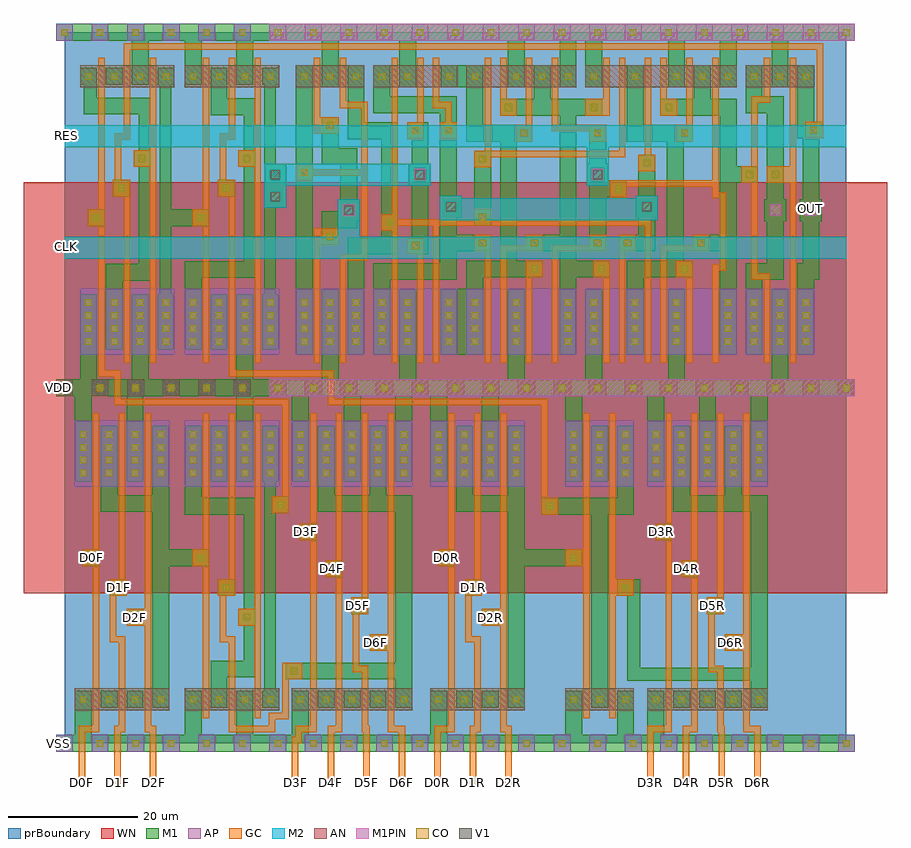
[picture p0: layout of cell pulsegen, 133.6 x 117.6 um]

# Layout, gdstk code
import gdstk
lib = gdstk.Library(unit=1e-6, precision=1e-07)
def R(c, l, rs):  # rectangles x0, y0, x1, y1
    for r in rs: c.add(gdstk.rectangle(r[:2], r[2:], *l))
def A(c, l, x, y, w, h, nx, ny, dx, dy):  # array of equal rectangles
    R(c, l, [(x+i*dx, y+j*dy, x+i*dx+w, y+j*dy+h) for i in range(nx) for j in range(ny)])
def P(c, l, *ps):  # polygons
    for p in ps: c.add(gdstk.Polygon(p, *l))
AP = (3, 1)
AN = (3, 2)
GC = (8, 1)
CO = (11, 0)
M1 = (13, 0)
V1 = (19, 0)
M2 = (20, 0)
M1PIN = (48, 1)
WN = (140, 0)
prBoundary = (235, 0)

fet_p = lib.new_cell('fet_p')
R(fet_p, AP, [(-7.3,-5.1,7.3,5.1)])
A(fet_p, CO, -6.5, -3.5, 1, 1, 4, 4, 4, 2)
A(fet_p, M1, -7.3, -4.3, 2.6, 8.6, 4, 1, 4, 0)
fet_p.add(gdstk.FlexPath([(0,-6.3),(0,6.3)], 1, ends="flush", simple_path=True, layer=8, datatype=1))  # GC
fet_p.add(gdstk.FlexPath([(-4,-6.3),(-4,6.3)], 1, ends="flush", simple_path=True, layer=8, datatype=1))  # GC
fet_p.add(gdstk.FlexPath([(4,-6.3),(4,6.3)], 1, ends="flush", simple_path=True, layer=8, datatype=1))  # GC

fet_n = lib.new_cell('fet_n')
R(fet_n, AN, [(-7.3,-1.7,7.3,1.7)])
A(fet_n, CO, -6.5, -0.5, 1, 1, 4, 1, 4, 0)
A(fet_n, M1, -7.3, -1.3, 2.6, 2.6, 4, 1, 4, 0)
fet_n.add(gdstk.FlexPath([(0,-2.9),(0,2.9)], 1, ends="flush", simple_path=True, layer=8, datatype=1))  # GC
fet_n.add(gdstk.FlexPath([(-4,-2.9),(-4,2.9)], 1, ends="flush", simple_path=True, layer=8, datatype=1))  # GC
fet_n.add(gdstk.FlexPath([(4,-2.9),(4,2.9)], 1, ends="flush", simple_path=True, layer=8, datatype=1))  # GC

cont_g_4 = lib.new_cell('cont_g$4')
R(cont_g_4, GC, [(-1.3,-1.3,1.3,1.3)])
R(cont_g_4, CO, [(-0.5,-0.5,0.5,0.5)])
R(cont_g_4, M1, [(-1.3,-1.3,1.3,1.3)])

cont_p_4 = lib.new_cell('cont_p$4')
R(cont_p_4, AP, [(-1.3,-1.3,1.3,1.3)])
R(cont_p_4, CO, [(-0.5,-0.5,0.5,0.5)])
R(cont_p_4, M1, [(-1.3,-1.3,1.3,1.3)])

cont_n = lib.new_cell('cont_n')
R(cont_n, AN, [(-1.3,-1.3,1.3,1.3)])
R(cont_n, CO, [(-0.5,-0.5,0.5,0.5)])
R(cont_n, M1, [(-1.3,-1.3,1.3,1.3)])

pulsegen_and2 = lib.new_cell('pulsegen_and2')
R(pulsegen_and2, GC, [(5.2,9.7,6.2,38.5), (13.2,9.7,14.2,38.5)])
P(pulsegen_and2, GC, [(9.2,9.7),(9.2,15.6),(7.8,15.6),(7.8,23.8),(9.2,23.8),(9.2,38.5),(10.2,38.5),(10.2,22.8),(8.8,22.8),(8.8,16.6),(10.2,16.6),(10.2,9.7)])
R(pulsegen_and2, M1, [(-1.3,-1.3,17.8,1.3), (10.4,1.3,13,5.5), (14.7,8.1,16.5,40.5), (2.4,49.1,5,53.7), (10.4,49.1,13,53.7), (-1.3,53.7,17.8,56.3)])
P(pulsegen_and2, M1, [(3,8.1),(3,12.7),(11.5,12.7),(11.5,35.8),(6.4,35.8),(6.4,40.5),(9,40.5),(9,38.4),(13.3,38.4),(13.3,10.1),(5,10.1),(5,8.1)])
R(pulsegen_and2, WN, [(-6.3,23.2,24,61.3)])
R(pulsegen_and2, prBoundary, [(0,0,16.5,55)])
pulsegen_and2.add(gdstk.Reference(fet_p, (9.7,44.8), x_reflection=True))
pulsegen_and2.add(gdstk.Reference(fet_n, (9.7,6.8), x_reflection=True))
pulsegen_and2.add(gdstk.Reference(cont_g_4, (4.9,28.7)))
pulsegen_and2.add(gdstk.Reference(cont_g_4, (12,19.5)))
r = gdstk.Reference(cont_p_4, (0,0), x_reflection=True); r.repetition = gdstk.Repetition(4, 1, v1=(5.5,0), v2=(0,0)); pulsegen_and2.add(r)
r = gdstk.Reference(cont_n, (0,55), x_reflection=True); r.repetition = gdstk.Repetition(4, 1, v1=(5.5,0), v2=(0,0)); pulsegen_and2.add(r)
pulsegen_and2.add(gdstk.Reference(cont_g_4, (8.8,24.1)))
pulsegen_and2.add(gdstk.Label('B', (8.8,24.1), layer=48, texttype=0))
pulsegen_and2.add(gdstk.Label('A', (4.9,28.7), layer=48, texttype=0))
pulsegen_and2.add(gdstk.Label('Y', (15.6,24.1), layer=48, texttype=0))
pulsegen_and2.add(gdstk.Label('VSS', (-1,0), layer=48, texttype=0))
pulsegen_and2.add(gdstk.Label('VDD', (-0.9,55), layer=48, texttype=0))

fet_p_1 = lib.new_cell('fet_p$1')
R(fet_p_1, AP, [(-7.3,-5.1,7.3,5.1)])
A(fet_p_1, CO, -6.5, -3.5, 1, 1, 4, 4, 4, 2)
A(fet_p_1, M1, -7.3, -4.3, 2.6, 8.6, 4, 1, 4, 0)
fet_p_1.add(gdstk.FlexPath([(0,-6.3),(0,6.3)], 1, ends="flush", simple_path=True, layer=8, datatype=1))  # GC
fet_p_1.add(gdstk.FlexPath([(-4,-6.3),(-4,6.3)], 1, ends="flush", simple_path=True, layer=8, datatype=1))  # GC
fet_p_1.add(gdstk.FlexPath([(4,-6.3),(4,6.3)], 1, ends="flush", simple_path=True, layer=8, datatype=1))  # GC

fet_n_1 = lib.new_cell('fet_n$1')
R(fet_n_1, AN, [(-7.3,-1.7,7.3,1.7)])
A(fet_n_1, CO, -6.5, -0.5, 1, 1, 4, 1, 4, 0)
A(fet_n_1, M1, -7.3, -1.3, 2.6, 2.6, 4, 1, 4, 0)
fet_n_1.add(gdstk.FlexPath([(0,-2.9),(0,2.9)], 1, ends="flush", simple_path=True, layer=8, datatype=1))  # GC
fet_n_1.add(gdstk.FlexPath([(-4,-2.9),(-4,2.9)], 1, ends="flush", simple_path=True, layer=8, datatype=1))  # GC
fet_n_1.add(gdstk.FlexPath([(4,-2.9),(4,2.9)], 1, ends="flush", simple_path=True, layer=8, datatype=1))  # GC

cont_g_6 = lib.new_cell('cont_g$6')
R(cont_g_6, GC, [(-1.3,-1.3,1.3,1.3)])
R(cont_g_6, CO, [(-0.5,-0.5,0.5,0.5)])
R(cont_g_6, M1, [(-1.3,-1.3,1.3,1.3)])

cont_p_6 = lib.new_cell('cont_p$6')
R(cont_p_6, AP, [(-1.3,-1.3,1.3,1.3)])
R(cont_p_6, CO, [(-0.5,-0.5,0.5,0.5)])
R(cont_p_6, M1, [(-1.3,-1.3,1.3,1.3)])

cont_n_2 = lib.new_cell('cont_n$2')
R(cont_n_2, AN, [(-1.3,-1.3,1.3,1.3)])
R(cont_n_2, CO, [(-0.5,-0.5,0.5,0.5)])
R(cont_n_2, M1, [(-1.3,-1.3,1.3,1.3)])

pulsegen_or2 = lib.new_cell('pulsegen_or2')
R(pulsegen_or2, GC, [(4.9,9.7,5.9,38.5), (12.9,9.7,13.9,38.5)])
P(pulsegen_or2, GC, [(8.9,9.7),(8.9,15.6),(7.5,15.6),(7.5,23.8),(8.9,23.8),(8.9,38.5),(9.9,38.5),(9.9,22.8),(8.5,22.8),(8.5,16.6),(9.9,16.6),(9.9,9.7)])
R(pulsegen_or2, M1, [(-1.3,-1.3,17.8,1.3), (2.1,1.3,4.7,5.5), (10.1,1.3,12.7,5.5), (14.4,8.1,16.2,40.5), (10.1,49.1,12.7,53.7), (-1.3,53.7,17.8,56.3)])
P(pulsegen_or2, M1, [(6.1,8.1),(6.1,12.8),(11.2,12.8),(11.2,35.4),(2.1,35.4),(2.1,40.5),(4.7,40.5),(4.7,38),(13,38),(13,10.2),(8.7,10.2),(8.7,8.1)])
R(pulsegen_or2, WN, [(-6.3,23.2,23.7,61.3)])
R(pulsegen_or2, prBoundary, [(0,0,16.5,55)])
pulsegen_or2.add(gdstk.Reference(fet_p_1, (9.4,44.8), x_reflection=True))
pulsegen_or2.add(gdstk.Reference(fet_n_1, (9.4,6.8), x_reflection=True))
pulsegen_or2.add(gdstk.Reference(cont_g_6, (4.6,28.7)))
pulsegen_or2.add(gdstk.Reference(cont_g_6, (11.7,19.5)))
r = gdstk.Reference(cont_p_6, (0,0), x_reflection=True); r.repetition = gdstk.Repetition(4, 1, v1=(5.5,0), v2=(0,0)); pulsegen_or2.add(r)
r = gdstk.Reference(cont_n_2, (0,55), x_reflection=True); r.repetition = gdstk.Repetition(4, 1, v1=(5.5,0), v2=(0,0)); pulsegen_or2.add(r)
pulsegen_or2.add(gdstk.Reference(cont_g_6, (8.5,24.1)))
pulsegen_or2.add(gdstk.Label('B', (8.5,24.1), layer=48, texttype=0))
pulsegen_or2.add(gdstk.Label('A', (4.6,28.7), layer=48, texttype=0))
pulsegen_or2.add(gdstk.Label('Y', (15.3,24.1), layer=48, texttype=0))
pulsegen_or2.add(gdstk.Label('VSS', (-1,0), layer=48, texttype=0))
pulsegen_or2.add(gdstk.Label('VDD', (-0.9,55), layer=48, texttype=0))

cont_p = lib.new_cell('cont_p')
R(cont_p, AP, [(-1.3,-1.3,1.3,1.3)])
R(cont_p, CO, [(-0.5,-0.5,0.5,0.5)])
R(cont_p, M1, [(-1.3,-1.3,1.3,1.3)])

cont_g = lib.new_cell('cont_g')
R(cont_g, GC, [(-1.3,-1.3,1.3,1.3)])
R(cont_g, CO, [(-0.5,-0.5,0.5,0.5)])
R(cont_g, M1, [(-1.3,-1.3,1.3,1.3)])

via_1 = lib.new_cell('via_1')
R(via_1, M1, [(-1.7,-1.7,1.7,1.7)])
R(via_1, V1, [(-0.7,-0.7,0.7,0.7)])
R(via_1, M2, [(-1.7,-1.7,1.7,1.7)])

fet_p_3 = lib.new_cell('fet_p$3')
R(fet_p_3, AP, [(-7.3,-5.1,7.3,5.1)])
A(fet_p_3, CO, -6.5, -3.5, 1, 1, 4, 4, 4, 2)
A(fet_p_3, M1, -7.3, -4.3, 2.6, 8.6, 4, 1, 4, 0)
fet_p_3.add(gdstk.FlexPath([(0,-6.3),(0,6.3)], 1, ends="flush", simple_path=True, layer=8, datatype=1))  # GC
fet_p_3.add(gdstk.FlexPath([(-4,-6.3),(-4,6.3)], 1, ends="flush", simple_path=True, layer=8, datatype=1))  # GC
fet_p_3.add(gdstk.FlexPath([(4,-6.3),(4,6.3)], 1, ends="flush", simple_path=True, layer=8, datatype=1))  # GC

fet_n_3 = lib.new_cell('fet_n$3')
R(fet_n_3, AN, [(-7.3,-1.7,7.3,1.7)])
A(fet_n_3, CO, -6.5, -0.5, 1, 1, 4, 1, 4, 0)
A(fet_n_3, M1, -7.3, -1.3, 2.6, 2.6, 4, 1, 4, 0)
fet_n_3.add(gdstk.FlexPath([(0,-2.9),(0,2.9)], 1, ends="flush", simple_path=True, layer=8, datatype=1))  # GC
fet_n_3.add(gdstk.FlexPath([(-4,-2.9),(-4,2.9)], 1, ends="flush", simple_path=True, layer=8, datatype=1))  # GC
fet_n_3.add(gdstk.FlexPath([(4,-2.9),(4,2.9)], 1, ends="flush", simple_path=True, layer=8, datatype=1))  # GC

cont_g_1 = lib.new_cell('cont_g$1')
R(cont_g_1, GC, [(-1.3,-1.3,1.3,1.3)])
R(cont_g_1, CO, [(-0.5,-0.5,0.5,0.5)])
R(cont_g_1, M1, [(-1.3,-1.3,1.3,1.3)])

cont_p_1 = lib.new_cell('cont_p$1')
R(cont_p_1, AP, [(-1.3,-1.3,1.3,1.3)])
R(cont_p_1, CO, [(-0.5,-0.5,0.5,0.5)])
R(cont_p_1, M1, [(-1.3,-1.3,1.3,1.3)])

cont_n_1 = lib.new_cell('cont_n$1')
R(cont_n_1, AN, [(-1.3,-1.3,1.3,1.3)])
R(cont_n_1, CO, [(-0.5,-0.5,0.5,0.5)])
R(cont_n_1, M1, [(-1.3,-1.3,1.3,1.3)])

pulsegen_nand3 = lib.new_cell('pulsegen_nand3')
R(pulsegen_nand3, GC, [(4.4,9.7,5.4,38.5)])
P(pulsegen_nand3, GC, [(12.4,9.7),(12.4,18.2),(12.2,18.2),(12.2,20.8),(12.4,20.8),(12.4,38.5),(13.4,38.5),(13.4,9.7)],
  [(8.4,9.7),(8.4,15.6),(7,15.6),(7,23.8),(8.4,23.8),(8.4,38.5),(9.4,38.5),(9.4,22.8),(8,22.8),(8,16.6),(9.4,16.6),(9.4,9.7)])
R(pulsegen_nand3, M1, [(-1.3,-1.3,17.8,1.3), (1.6,1.3,4.2,5.5), (1.6,49.1,4.2,53.7), (9.6,49.1,12.2,53.7), (-1.3,53.7,17.8,56.3)])
P(pulsegen_nand3, M1, [(13.6,8.1),(13.6,35.8),(5.6,35.8),(5.6,40.5),(8.2,40.5),(8.2,38.4),(13.6,38.4),(13.6,40.5),(16.2,40.5),(16.2,8.1)])
R(pulsegen_nand3, WN, [(-6.3,23.2,23.2,61.3)])
R(pulsegen_nand3, prBoundary, [(0,0,16.5,55)])
pulsegen_nand3.add(gdstk.Reference(fet_p_3, (8.9,44.8), x_reflection=True))
pulsegen_nand3.add(gdstk.Reference(fet_n_3, (8.9,6.8), x_reflection=True))
pulsegen_nand3.add(gdstk.Reference(cont_g_1, (4.1,28.7)))
pulsegen_nand3.add(gdstk.Reference(cont_g_1, (10.9,19.5)))
r = gdstk.Reference(cont_p_1, (0,0), x_reflection=True); r.repetition = gdstk.Repetition(4, 1, v1=(5.5,0), v2=(0,0)); pulsegen_nand3.add(r)
r = gdstk.Reference(cont_n_1, (0,55), x_reflection=True); r.repetition = gdstk.Repetition(4, 1, v1=(5.5,0), v2=(0,0)); pulsegen_nand3.add(r)
pulsegen_nand3.add(gdstk.Reference(cont_g_1, (8.3,24.1)))
pulsegen_nand3.add(gdstk.Label('VSS', (-1,0), layer=48, texttype=0))
pulsegen_nand3.add(gdstk.Label('VDD', (-0.9,55), layer=48, texttype=0))
pulsegen_nand3.add(gdstk.Label('C', (10.9,19.5), layer=48, texttype=0))
pulsegen_nand3.add(gdstk.Label('B', (8.3,24.1), layer=48, texttype=0))
pulsegen_nand3.add(gdstk.Label('A', (4.1,28.7), layer=48, texttype=0))
pulsegen_nand3.add(gdstk.Label('Y', (14.9,24.1), layer=48, texttype=0))

fet_n_7 = lib.new_cell('fet_n$7')
R(fet_n_7, AN, [(-9.3,-1.7,9.3,1.7)])
A(fet_n_7, CO, -8.5, -0.5, 1, 1, 5, 1, 4, 0)
A(fet_n_7, M1, -9.3, -1.3, 2.6, 2.6, 5, 1, 4, 0)
fet_n_7.add(gdstk.FlexPath([(2,-2.9),(2,2.9)], 1, ends="flush", simple_path=True, layer=8, datatype=1))  # GC
fet_n_7.add(gdstk.FlexPath([(-2,-2.9),(-2,2.9)], 1, ends="flush", simple_path=True, layer=8, datatype=1))  # GC
fet_n_7.add(gdstk.FlexPath([(6,-2.9),(6,2.9)], 1, ends="flush", simple_path=True, layer=8, datatype=1))  # GC
fet_n_7.add(gdstk.FlexPath([(-6,-2.9),(-6,2.9)], 1, ends="flush", simple_path=True, layer=8, datatype=1))  # GC

fet_p_7 = lib.new_cell('fet_p$7')
R(fet_p_7, AP, [(-9.3,-5.1,9.3,5.1)])
A(fet_p_7, CO, -8.5, -3.5, 1, 1, 5, 4, 4, 2)
A(fet_p_7, M1, -9.3, -4.3, 2.6, 8.6, 5, 1, 4, 0)
fet_p_7.add(gdstk.FlexPath([(2,-6.3),(2,6.3)], 1, ends="flush", simple_path=True, layer=8, datatype=1))  # GC
fet_p_7.add(gdstk.FlexPath([(-2,-6.3),(-2,6.3)], 1, ends="flush", simple_path=True, layer=8, datatype=1))  # GC
fet_p_7.add(gdstk.FlexPath([(6,-6.3),(6,6.3)], 1, ends="flush", simple_path=True, layer=8, datatype=1))  # GC
fet_p_7.add(gdstk.FlexPath([(-6,-6.3),(-6,6.3)], 1, ends="flush", simple_path=True, layer=8, datatype=1))  # GC

cont_p_7 = lib.new_cell('cont_p$7')
R(cont_p_7, AP, [(-1.3,-1.3,1.3,1.3)])
R(cont_p_7, CO, [(-0.5,-0.5,0.5,0.5)])
R(cont_p_7, M1, [(-1.3,-1.3,1.3,1.3)])

cont_n_6 = lib.new_cell('cont_n$6')
R(cont_n_6, AN, [(-1.3,-1.3,1.3,1.3)])
R(cont_n_6, CO, [(-0.5,-0.5,0.5,0.5)])
R(cont_n_6, M1, [(-1.3,-1.3,1.3,1.3)])

cont_g_7 = lib.new_cell('cont_g$7')
R(cont_g_7, GC, [(-1.3,-1.3,1.3,1.3)])
R(cont_g_7, CO, [(-0.5,-0.5,0.5,0.5)])
R(cont_g_7, M1, [(-1.3,-1.3,1.3,1.3)])

pulsegen_nand4 = lib.new_cell('pulsegen_nand4')
R(pulsegen_nand4, GC, [(5,9.7,6,38.5), (9,9.7,10,38.5)])
P(pulsegen_nand4, GC, [(13,9.7),(13,11),(11.6,11),(11.6,21),(13,21),(13,38.5),(14,38.5),(14,20),(12.6,20),(12.6,12),(14,12),(14,9.7)],
  [(17,9.7),(17,14.3),(16.8,14.3),(16.8,16.9),(17,16.9),(17,38.5),(18,38.5),(18,9.7)])
A(pulsegen_nand4, M1, 2.2, 49.1, 2.6, 4.6, 3, 1, 8, 0)
R(pulsegen_nand4, M1, [(-1.3,-1.3,23.3,1.3), (2.2,1.3,4.8,5.5), (-1.3,53.7,23.3,56.3)])
P(pulsegen_nand4, M1, [(18.2,8.1),(18.2,35.8),(6.2,35.8),(6.2,40.5),(8.8,40.5),(8.8,38.4),(14.2,38.4),(14.2,40.5),(16.8,40.5),(16.8,38.4),(20.8,38.4),(20.8,8.1)])
R(pulsegen_nand4, WN, [(-6.3,23.2,28.3,61.3)])
R(pulsegen_nand4, prBoundary, [(0,0,22,55)])
pulsegen_nand4.add(gdstk.Reference(fet_n_7, (11.5,6.8), x_reflection=True))
pulsegen_nand4.add(gdstk.Reference(fet_p_7, (11.5,44.8), x_reflection=True))
r = gdstk.Reference(cont_p_7, (0,0), x_reflection=True); r.repetition = gdstk.Repetition(5, 1, v1=(5.5,0), v2=(0,0)); pulsegen_nand4.add(r)
r = gdstk.Reference(cont_n_6, (0,55), x_reflection=True); r.repetition = gdstk.Repetition(5, 1, v1=(5.5,0), v2=(0,0)); pulsegen_nand4.add(r)
pulsegen_nand4.add(gdstk.Reference(cont_g_7, (15.5,15.6)))
pulsegen_nand4.add(gdstk.Reference(cont_g_7, (8.7,27)))
pulsegen_nand4.add(gdstk.Reference(cont_g_7, (4.7,32.7)))
pulsegen_nand4.add(gdstk.Reference(cont_g_7, (12.7,21.3)))
pulsegen_nand4.add(gdstk.Label('A', (4.7,32.7), layer=48, texttype=0))
pulsegen_nand4.add(gdstk.Label('B', (8.7,27), layer=48, texttype=0))
pulsegen_nand4.add(gdstk.Label('C', (12.7,21.3), layer=48, texttype=0))
pulsegen_nand4.add(gdstk.Label('D', (15.5,15.6), layer=48, texttype=0))
pulsegen_nand4.add(gdstk.Label('VSS', (-1,0), layer=48, texttype=0))
pulsegen_nand4.add(gdstk.Label('VDD', (-0.9,55), layer=48, texttype=0))

fet_p_1_2 = lib.new_cell('fet_p$1$2')
R(fet_p_1_2, AP, [(-5.3,-5.1,5.3,5.1)])
A(fet_p_1_2, CO, -4.5, -3.5, 1, 1, 3, 4, 4, 2)
A(fet_p_1_2, M1, -5.3, -4.3, 2.6, 8.6, 3, 1, 4, 0)
fet_p_1_2.add(gdstk.FlexPath([(2,-6.3),(2,6.3)], 1, ends="flush", simple_path=True, layer=8, datatype=1))  # GC
fet_p_1_2.add(gdstk.FlexPath([(-2,-6.3),(-2,6.3)], 1, ends="flush", simple_path=True, layer=8, datatype=1))  # GC

fet_n_1_2 = lib.new_cell('fet_n$1$2')
R(fet_n_1_2, AN, [(-5.3,-1.7,5.3,1.7)])
A(fet_n_1_2, CO, -4.5, -0.5, 1, 1, 3, 1, 4, 0)
A(fet_n_1_2, M1, -5.3, -1.3, 2.6, 2.6, 3, 1, 4, 0)
fet_n_1_2.add(gdstk.FlexPath([(2,-2.9),(2,2.9)], 1, ends="flush", simple_path=True, layer=8, datatype=1))  # GC
fet_n_1_2.add(gdstk.FlexPath([(-2,-2.9),(-2,2.9)], 1, ends="flush", simple_path=True, layer=8, datatype=1))  # GC

cont_g_5 = lib.new_cell('cont_g$5')
R(cont_g_5, GC, [(-1.3,-1.3,1.3,1.3)])
R(cont_g_5, CO, [(-0.5,-0.5,0.5,0.5)])
R(cont_g_5, M1, [(-1.3,-1.3,1.3,1.3)])

cont_n_5 = lib.new_cell('cont_n$5')
R(cont_n_5, AN, [(-1.3,-1.3,1.3,1.3)])
R(cont_n_5, CO, [(-0.5,-0.5,0.5,0.5)])
R(cont_n_5, M1, [(-1.3,-1.3,1.3,1.3)])

cont_p_5 = lib.new_cell('cont_p$5')
R(cont_p_5, AP, [(-1.3,-1.3,1.3,1.3)])
R(cont_p_5, CO, [(-0.5,-0.5,0.5,0.5)])
R(cont_p_5, M1, [(-1.3,-1.3,1.3,1.3)])

pulsegen_nor2_1 = lib.new_cell('pulsegen_nor2$1')
P(pulsegen_nor2_1, GC, [(3.3,9.7),(3.3,27.4),(3.1,27.4),(3.1,30),(3.3,30),(3.3,38.5),(4.3,38.5),(4.3,9.7)],
  [(7.3,9.7),(7.3,38.5),(8.3,38.5),(8.3,25.4),(8.5,25.4),(8.5,22.8),(8.3,22.8),(8.3,9.7)])
R(pulsegen_nor2_1, M1, [(-1.3,-1.3,12.3,1.3), (0.5,1.3,3.1,5.5), (8.5,1.3,11.1,5.5), (0.5,49.1,3.1,53.7), (-1.3,53.7,12.3,56.3)])
P(pulsegen_nor2_1, M1, [(4.5,8.1),(4.5,38),(8.5,38),(8.5,40.5),(11.1,40.5),(11.1,35.4),(7.1,35.4),(7.1,8.1)])
R(pulsegen_nor2_1, WN, [(-6.3,23.2,18.1,61.3)])
R(pulsegen_nor2_1, prBoundary, [(0,0,11,55)])
pulsegen_nor2_1.add(gdstk.Reference(fet_p_1_2, (5.8,44.8), x_reflection=True))
pulsegen_nor2_1.add(gdstk.Reference(fet_n_1_2, (5.8,6.8), x_reflection=True))
pulsegen_nor2_1.add(gdstk.Reference(cont_g_5, (1.8,28.7)))
r = gdstk.Reference(cont_n_5, (0,55), x_reflection=True); r.repetition = gdstk.Repetition(3, 1, v1=(5.5,0), v2=(0,0)); pulsegen_nor2_1.add(r)
pulsegen_nor2_1.add(gdstk.Reference(cont_g_5, (9.8,24.1)))
r = gdstk.Reference(cont_p_5, (0,0), x_reflection=True); r.repetition = gdstk.Repetition(3, 1, v1=(5.5,0), v2=(0,0)); pulsegen_nor2_1.add(r)
pulsegen_nor2_1.add(gdstk.Label('A', (1.8,28.7), layer=48, texttype=0))
pulsegen_nor2_1.add(gdstk.Label('B', (9.8,24.1), layer=48, texttype=0))
pulsegen_nor2_1.add(gdstk.Label('Y', (5.8,24.1), layer=48, texttype=0))
pulsegen_nor2_1.add(gdstk.Label('VDD', (-0.9,55), layer=48, texttype=0))
pulsegen_nor2_1.add(gdstk.Label('VSS', (-1,0), layer=48, texttype=0))

dffr = lib.new_cell('DFFR')
A(dffr, AP, -1.3, -1.3, 2.6, 2.6, 17, 1, 5.5, 0)
R(dffr, AP, [(2.8,39.7,13.4,49.9), (2.8,39.7,13.4,49.9), (14.8,39.7,27.8,49.9), (14.8,39.7,27.8,49.9), (29.2,39.7,46.2,49.9), (29.2,39.7,46.2,49.9), (47.6,39.7,71,49.9), (47.6,39.7,71,49.9), (72.4,39.7,83,49.9), (72.4,39.7,83,49.9)])
A(dffr, AN, -1.3, 53.7, 2.6, 2.6, 17, 1, 5.5, 0)
R(dffr, AN, [(2.8,5.1,13.4,8.5), (14.8,5.1,27.8,8.5), (29.2,5.1,46.2,8.5), (47.6,5.1,71,8.5), (72.4,5.1,83,8.5)])
P(dffr, GC, [(34.4,3.9),(34.4,12.9),(37,12.9),(37,10.3),(35.4,10.3),(35.4,3.9)],
  [(50.4,3.9),(50.4,10.3),(47.6,10.3),(47.6,12.9),(51.4,12.9),(51.4,3.9)],
  [(59.2,3.9),(59.2,12.9),(61.8,12.9),(61.8,10.3),(60.2,10.3),(60.2,3.9)],
  [(5.6,3.9),(5.6,15.7),(9.4,15.7),(9.4,13.1),(6.6,13.1),(6.6,3.9)],
  [(21.6,3.9),(21.6,13.9),(20,13.9),(20,16.5),(22.6,16.5),(22.6,3.9)],
  [(24,3.9),(24,11.7),(25.9,11.7),(25.9,13.9),(25.1,13.9),(25.1,16.5),(27.7,16.5),(27.7,13.9),(26.9,13.9),(26.9,10.7),(25,10.7),(25,3.9)],
  [(38.4,3.9),(38.4,14.3),(36.8,14.3),(36.8,16.9),(39.4,16.9),(39.4,3.9)],
  [(42.4,3.9),(42.4,15.3),(48.2,15.3),(48.2,16.9),(50.8,16.9),(50.8,14.3),(43.4,14.3),(43.4,3.9)],
  [(63.2,3.9),(63.2,14.3),(61.6,14.3),(61.6,16.9),(64.2,16.9),(64.2,3.9)],
  [(32,3.9),(32,18.3),(30.4,18.3),(30.4,20.9),(33,20.9),(33,19.3),(53.8,19.3),(53.8,3.9),(52.8,3.9),(52.8,18.3),(33,18.3),(33,3.9)],
  [(56.8,3.9),(56.8,18.9),(55.8,18.9),(55.8,21.5),(58.4,21.5),(58.4,18.9),(57.8,18.9),(57.8,3.9)],
  [(5.6,30.3),(5.6,51.1),(6.6,51.1),(6.6,32.9),(9.4,32.9),(9.4,30.3)],
  [(9.6,3.9),(9.6,11.7),(12.9,11.7),(12.9,21.2),(5.4,21.2),(5.4,20.4),(2.8,20.4),(2.8,23),(5.4,23),(5.4,22.2),(12.9,22.2),(12.9,34.3),(9.6,34.3),(9.6,51.1),(10.6,51.1),(10.6,35.3),(13.9,35.3),(13.9,10.7),(10.6,10.7),(10.6,3.9)],
  [(20,31.7),(20,34.3),(21.6,34.3),(21.6,51.1),(22.6,51.1),(22.6,31.7)],
  [(30.4,31.3),(30.4,33.9),(32,33.9),(32,51.1),(33,51.1),(33,31.3)],
  [(38.4,31.3),(38.4,32.9),(34.4,32.9),(34.4,51.1),(35.4,51.1),(35.4,33.9),(41,33.9),(41,31.3)],
  [(38.4,35.3),(38.4,51.1),(39.4,51.1),(39.4,37.9),(41,37.9),(41,35.3)],
  [(48.2,31.3),(48.2,32.9),(42.4,32.9),(42.4,51.1),(43.4,51.1),(43.4,33.9),(50.8,33.9),(50.8,31.3)],
  [(48.8,35.3),(48.8,37.9),(50.4,37.9),(50.4,51.1),(51.4,51.1),(51.4,35.3)],
  [(52.8,31.3),(52.8,51.1),(53.8,51.1),(53.8,33.9),(55.4,33.9),(55.4,31.3)],
  [(17.6,3.9),(17.6,28.1),(16,28.1),(16,30.7),(17.6,30.7),(17.6,51.1),(18.6,51.1),(18.6,29.9),(24,29.9),(24,51.1),(25,51.1),(25,29.9),(56.8,29.9),(56.8,51.1),(57.8,51.1),(57.8,28.9),(33,28.9),(33,27.3),(30.4,27.3),(30.4,28.9),(18.6,28.9),(18.6,3.9)],
  [(64.2,31.3),(64.2,32.9),(59.2,32.9),(59.2,51.1),(60.2,51.1),(60.2,33.9),(66.8,33.9),(66.8,31.3)],
  [(61.6,35.3),(61.6,37.9),(63.2,37.9),(63.2,51.1),(64.2,51.1),(64.2,35.3)],
  [(67.2,3.9),(67.2,22.9),(51.4,22.9),(51.4,25.5),(54,25.5),(54,23.9),(67.2,23.9),(67.2,25.7),(68.4,25.7),(68.4,35.9),(67.2,35.9),(67.2,51.1),(68.2,51.1),(68.2,36.9),(69.4,36.9),(69.4,24.7),(68.2,24.7),(68.2,3.9)],
  [(75.2,3.9),(75.2,9.9),(73.3,9.9),(73.3,20.7),(71.7,20.7),(71.7,23.3),(73.3,23.3),(73.3,38.3),(75.2,38.3),(75.2,51.1),(76.2,51.1),(76.2,37.3),(74.3,37.3),(74.3,10.9),(76.2,10.9),(76.2,3.9)],
  [(79.2,3.9),(79.2,20.7),(75.7,20.7),(75.7,23.3),(79.2,23.3),(79.2,51.1),(80.2,51.1),(80.2,3.9)])
A(dffr, CO, -0.5, -0.5, 1, 1, 17, 2, 5.5, 55)
A(dffr, CO, 7.6, 6.3, 1, 1, 4, 2, 4, 35)
A(dffr, CO, 40.4, 6.3, 1, 1, 3, 1, 4, 0)
A(dffr, CO, 65.2, 6.3, 1, 1, 4, 1, 4, 0)
A(dffr, CO, 3.6, 41.3, 1, 1, 1, 4, 0, 2)
A(dffr, CO, 7.6, 41.3, 1, 1, 1, 4, 0, 2)
A(dffr, CO, 19.6, 41.3, 1, 1, 1, 4, 0, 2)
A(dffr, CO, 26, 41.3, 1, 1, 1, 4, 0, 2)
A(dffr, CO, 30, 41.3, 1, 1, 1, 4, 0, 2)
A(dffr, CO, 44.4, 41.3, 1, 1, 1, 4, 0, 2)
A(dffr, CO, 48.4, 41.3, 1, 1, 1, 4, 0, 2)
A(dffr, CO, 69.2, 41.3, 1, 1, 3, 4, 4, 2)
A(dffr, CO, 77.2, 41.3, 1, 1, 1, 4, 0, 2)
A(dffr, CO, 81.2, 41.3, 1, 1, 1, 4, 0, 2)
A(dffr, CO, 7.6, 43.3, 1, 1, 4, 3, 4, 2)
R(dffr, CO, [(3.6,6.3,4.6,7.3), (7.6,6.3,8.6,7.3), (19.6,6.3,20.6,7.3), (26,6.3,27,7.3), (30,6.3,31,7.3), (36.4,6.3,37.4,7.3), (36.4,6.3,37.4,7.3), (40.4,6.3,41.4,7.3), (54.8,6.3,55.8,7.3), (54.8,6.3,55.8,7.3), (61.2,6.3,62.2,7.3), (61.2,6.3,62.2,7.3), (65.2,6.3,66.2,7.3), (77.2,6.3,78.2,7.3), (81.2,6.3,82.2,7.3), (35.2,11.1,36.2,12.1), (48.4,11.1,49.4,12.1), (60,11.1,61,12.1), (7.6,13.9,8.6,14.9), (20.8,14.7,21.8,15.7), (25.9,14.7,26.9,15.7), (37.6,15.1,38.6,16.1), (49,15.1,50,16.1), (62.4,15.1,63.4,16.1), (31.2,19.1,32.2,20.1), (56.6,19.7,57.6,20.7), (3.6,21.2,4.6,22.2), (72.5,21.5,73.5,22.5), (76.5,21.5,77.5,22.5), (52.2,23.7,53.2,24.7), (31.2,28.1,32.2,29.1), (16.8,28.9,17.8,29.9), (7.6,31.1,8.6,32.1), (31.2,32.1,32.2,33.1), (39.2,32.1,40.2,33.1), (49,32.1,50,33.1), (53.6,32.1,54.6,33.1), (65,32.1,66,33.1), (20.8,32.5,21.8,33.5), (39.2,36.1,40.2,37.1), (49.6,36.1,50.6,37.1), (62.4,36.1,63.4,37.1), (36.4,41.3,37.4,42.3), (36.4,41.3,37.4,42.3), (54.8,41.3,55.8,42.3), (54.8,41.3,55.8,42.3), (61.2,41.3,62.2,42.3), (61.2,41.3,62.2,42.3), (36.4,43.3,37.4,44.3), (36.4,43.3,37.4,44.3), (54.8,43.3,55.8,44.3), (54.8,43.3,55.8,44.3), (61.2,43.3,62.2,44.3), (61.2,43.3,62.2,44.3), (36.4,45.3,37.4,46.3), (36.4,45.3,37.4,46.3), (54.8,45.3,55.8,46.3), (54.8,45.3,55.8,46.3), (61.2,45.3,62.2,46.3), (61.2,45.3,62.2,46.3), (36.4,47.3,37.4,48.3), (36.4,47.3,37.4,48.3), (54.8,47.3,55.8,48.3), (54.8,47.3,55.8,48.3), (61.2,47.3,62.2,48.3), (61.2,47.3,62.2,48.3)])
R(dffr, M1, [(2.8,5.1,5.4,49.9), (30.4,18.3,33,29.9)])
P(dffr, M1, [(6.8,13.1),(6.8,20.5),(9.7,20.5),(9.7,25.8),(9.3,25.8),(9.3,27.7),(6.8,27.7),(6.8,32.9),(9.4,32.9),(9.4,30.3),(12.3,30.3),(12.3,29.2),(12.7,29.2),(12.7,25.8),(12.3,25.8),(12.3,17.9),(9.4,17.9),(9.4,13.1)],
  [(10.8,5.1),(10.8,16.5),(16,16.5),(16,31.7),(10.8,31.7),(10.8,49.9),(13.4,49.9),(13.4,34.3),(18.6,34.3),(18.6,13.9),(13.4,13.9),(13.4,5.1)],
  [(39.6,5.1),(39.6,10.3),(34.4,10.3),(34.4,12.9),(43.6,12.9),(43.6,31.3),(38.4,31.3),(38.4,33.9),(43.6,33.9),(43.6,49.9),(46.2,49.9),(46.2,37.9),(51.4,37.9),(51.4,35.3),(46.2,35.3),(46.2,12.9),(50.2,12.9),(50.2,10.3),(42.2,10.3),(42.2,5.1)],
  [(64.4,5.1),(64.4,10.3),(59.2,10.3),(59.2,12.9),(68.4,12.9),(68.4,31.3),(64.2,31.3),(64.2,33.9),(68.4,33.9),(68.4,49.9),(71,49.9),(71,23.3),(74.3,23.3),(74.3,20.7),(71,20.7),(71,10.3),(67,10.3),(67,5.1)],
  [(80.4,5.1),(80.4,16.4),(81.2,16.4),(81.2,25.8),(80.8,25.8),(80.8,29.2),(81.2,29.2),(81.2,35.7),(80.4,35.7),(80.4,49.9),(83,49.9),(83,38.3),(83.8,38.3),(83.8,29.2),(84.2,29.2),(84.2,25.8),(83.8,25.8),(83.8,13.8),(83,13.8),(83,5.1)],
  [(25.2,5.1),(25.2,8.5),(29.2,8.5),(29.2,16.9),(34.4,16.9),(34.4,35.3),(29.2,35.3),(29.2,39.7),(25.2,39.7),(25.2,49.9),(31.8,49.9),(31.8,37.9),(41,37.9),(41,35.3),(37,35.3),(37,16.9),(39.4,16.9),(39.4,14.3),(31.8,14.3),(31.8,5.1)],
  [(-1.3,-1.3),(-1.3,1.3),(6.8,1.3),(6.8,8.5),(9.4,8.5),(9.4,1.3),(18.8,1.3),(18.8,8.5),(21.4,8.5),(21.4,1.3),(35.6,1.3),(35.6,8.5),(38.2,8.5),(38.2,1.3),(43.6,1.3),(43.6,8.5),(46.2,8.5),(46.2,1.3),(47.6,1.3),(47.6,8.5),(50.2,8.5),(50.2,1.3),(60.4,1.3),(60.4,8.5),(63,8.5),(63,1.3),(68.4,1.3),(68.4,8.5),(71,8.5),(71,1.3),(76.4,1.3),(76.4,8.5),(79,8.5),(79,1.3),(89.3,1.3),(89.3,-1.3)],
  [(48.2,14.3),(48.2,20.3),(47.8,20.3),(47.8,23.7),(48.2,23.7),(48.2,33.9),(50.8,33.9),(50.8,25.5),(54,25.5),(54,22.9),(51.2,22.9),(51.2,20.3),(50.8,20.3),(50.8,14.3)],
  [(55.8,18.9),(55.8,25.3),(55.4,25.3),(55.4,28.7),(55.8,28.7),(55.8,31.3),(52.8,31.3),(52.8,33.9),(58.4,33.9),(58.4,28.7),(58.8,28.7),(58.8,25.3),(58.4,25.3),(58.4,18.9)],
  [(20,13.9),(20,16.5),(20.7,16.5),(20.7,20.3),(20.3,20.3),(20.3,23.7),(20.7,23.7),(20.7,31.7),(20,31.7),(20,34.3),(23.3,34.3),(23.3,23.7),(23.7,23.7),(23.7,20.3),(23.3,20.3),(23.3,13.9)],
  [(14.8,5.1),(14.8,12.5),(25.1,12.5),(25.1,35.7),(14.8,35.7),(14.8,49.9),(17.4,49.9),(17.4,38.3),(27.7,38.3),(27.7,33.9),(33,33.9),(33,31.3),(27.7,31.3),(27.7,28.7),(28.5,28.7),(28.5,25.3),(27.7,25.3),(27.7,9.9),(17.4,9.9),(17.4,5.1)],
  [(54,5.1),(54,16.9),(60.2,16.9),(60.2,35.3),(54,35.3),(54,49.9),(56.6,49.9),(56.6,37.9),(64.2,37.9),(64.2,35.3),(62.8,35.3),(62.8,16.9),(64.2,16.9),(64.2,14.3),(56.6,14.3),(56.6,5.1)],
  [(72.4,5.1),(72.4,12.5),(75.7,12.5),(75.7,25.8),(75.3,25.8),(75.3,29.2),(75.7,29.2),(75.7,35.7),(72.4,35.7),(72.4,49.9),(75,49.9),(75,38.3),(78.3,38.3),(78.3,29.2),(78.7,29.2),(78.7,25.8),(78.3,25.8),(78.3,9.9),(75,9.9),(75,5.1)],
  [(6.8,39.7),(6.8,53.7),(-1.3,53.7),(-1.3,56.3),(89.3,56.3),(89.3,53.7),(79,53.7),(79,39.7),(76.4,39.7),(76.4,53.7),(63,53.7),(63,39.7),(60.4,39.7),(60.4,53.7),(50.2,53.7),(50.2,39.7),(47.6,39.7),(47.6,53.7),(38.2,53.7),(38.2,39.7),(35.6,39.7),(35.6,53.7),(21.4,53.7),(21.4,39.7),(18.8,39.7),(18.8,53.7),(9.4,53.7),(9.4,39.7)])
R(dffr, V1, [(26.1,26.3,27.5,27.7), (56.4,26.3,57.8,27.7)])
P(dffr, M2, [(25.1,25.3),(25.1,29.1),(58.8,29.1),(58.8,25.3),(55.4,25.3),(55.4,25.7),(28.5,25.7),(28.5,25.3)])
R(dffr, M1PIN, [(-1.3,-1.3,89.3,1.3), (21.1,21.1,22.9,22.9), (48.6,21.1,50.4,22.9), (10.1,26.6,11.9,28.4), (76.1,26.6,77.9,28.4), (81.6,26.6,83.4,28.4), (-1.3,53.7,89.3,56.3)])
R(dffr, WN, [(-6.3,23.2,94.3,61.3)])
R(dffr, prBoundary, [(0,0,88,55), (0,0,88,55)])
dffr.add(gdstk.Label('D', (22,22), layer=48, texttype=0))
dffr.add(gdstk.Label('RST', (49.5,22), layer=48, texttype=0))
dffr.add(gdstk.Label('QB', (77,27.5), layer=48, texttype=0))
dffr.add(gdstk.Label('Q', (82.5,27.5), layer=48, texttype=0))
dffr.add(gdstk.Label('gnd', (0,0), layer=48, texttype=0))
dffr.add(gdstk.Label('CK', (11,27.5), layer=48, texttype=0))
dffr.add(gdstk.Label('vdd', (0,55), layer=48, texttype=0))

pulsegen = lib.new_cell('pulsegen')
P(pulsegen, GC, [(90.2,-6.3),(90.2,2.7),(93,2.7),(93,3.9),(94,3.9),(94,1.7),(91.2,1.7),(91.2,-6.3)],
  [(106.7,-6.3),(106.7,1.7),(105,1.7),(105,3.9),(106,3.9),(106,2.7),(107.7,2.7),(107.7,-6.3)],
  [(95.7,-6.3),(95.7,2.7),(97,2.7),(97,3.9),(98,3.9),(98,1.7),(96.7,1.7),(96.7,-6.3)],
  [(101.2,-6.3),(101.2,1.7),(101,1.7),(101,3.9),(102,3.9),(102,2.7),(102.2,2.7),(102.2,-6.3)],
  [(35.2,-6.3),(35.2,1),(35.7,1),(35.7,2.7),(38,2.7),(38,3.9),(39,3.9),(39,1.7),(36.7,1.7),(36.7,0),(36.2,0),(36.2,-6.3)],
  [(51.7,-6.3),(51.7,1.7),(50,1.7),(50,3.9),(51,3.9),(51,2.7),(52.7,2.7),(52.7,-6.3)],
  [(46.2,-6.3),(46.2,1.7),(46,1.7),(46,3.9),(47,3.9),(47,2.7),(47.2,2.7),(47.2,-6.3)],
  [(40.7,-6.3),(40.7,2.7),(42,2.7),(42,3.9),(43,3.9),(43,1.7),(41.7,1.7),(41.7,-6.3)],
  [(33.7,38.2),(33.7,52.3),(7.7,52.3),(7.7,56.7),(5.2,56.7),(5.2,58.9),(6.2,58.9),(6.2,57.7),(8.7,57.7),(8.7,53.3),(34.7,53.3),(34.7,38.2)],
  [(25.4,1.7),(25.4,3.9),(26.4,3.9),(26.4,2.7),(31.6,2.7),(31.6,4.7),(33.7,4.7),(33.7,12.5),(34.7,12.5),(34.7,3.7),(32.6,3.7),(32.6,1.7)],
  [(116.4,93.6),(116.4,107.3),(10.2,107.3),(10.2,106.1),(9.2,106.1),(9.2,108.3),(117.4,108.3),(117.4,93.6)],
  [(73.8,38),(73.8,52.3),(40.7,52.3),(40.7,56.7),(25.4,56.7),(25.4,58.9),(26.4,58.9),(26.4,57.7),(41.7,57.7),(41.7,53.3),(74.8,53.3),(74.8,38)],
  [(68.2,-6.3),(68.2,1.7),(67.4,1.7),(67.4,3.9),(68.4,3.9),(68.4,2.7),(69.2,2.7),(69.2,-6.3)],
  [(62.7,-6.3),(62.7,2.7),(63.4,2.7),(63.4,3.9),(64.4,3.9),(64.4,1.7),(63.7,1.7),(63.7,-6.3)],
  [(57.2,-6.3),(57.2,2.7),(59.4,2.7),(59.4,3.9),(60.4,3.9),(60.4,1.7),(58.2,1.7),(58.2,-6.3)],
  [(13.2,-6.3),(13.2,1.7),(12.4,1.7),(12.4,3.9),(13.4,3.9),(13.4,2.7),(14.2,2.7),(14.2,-6.3)],
  [(2.2,-6.3),(2.2,2.7),(4.4,2.7),(4.4,3.9),(5.4,3.9),(5.4,1.7),(3.2,1.7),(3.2,-6.3)],
  [(7.7,-6.3),(7.7,2.7),(8.4,2.7),(8.4,3.9),(9.4,3.9),(9.4,1.7),(8.7,1.7),(8.7,-6.3)])
A(pulsegen, M1, -1.3, -1.3, 123.6, 2.6, 1, 3, 0, 55)
R(pulsegen, M1, [(36.8,9.9,51.2,12.5), (16.2,27.4,19.8,30), (71.2,27.4,77.5,30), (76.4,35.4,81.5,38), (16.5,80,19.8,82.6)])
P(pulsegen, M1, [(87.1,9.7),(87.1,25.4),(89.1,25.4),(89.1,11.7),(106.2,11.7),(106.2,9.7)])
R(pulsegen, M2, [(34.3,86.3,53.3,89.7)])
P(pulsegen, M2, [(80.8,89.7),(80.8,92.2),(0,92.2),(0,95.6),(121,95.6),(121,92.2),(84.2,92.2),(84.2,89.7)],
  [(0,75),(0,78.4),(42.3,78.4),(42.3,80.8),(45.7,80.8),(45.7,78.4),(121,78.4),(121,75)])
R(pulsegen, WN, [(-6.3,23.2,127.3,86.8)])
R(pulsegen, prBoundary, [(0,0,121,110)])
pulsegen.add(gdstk.Reference(pulsegen_and2, (0,110), x_reflection=True))
pulsegen.add(gdstk.Reference(pulsegen_or2, (16.5,0)))
r = gdstk.Reference(cont_p, (115.5,0)); r.repetition = gdstk.Repetition(2, 1, v1=(5.5,0), v2=(0,0)); pulsegen.add(r)
pulsegen.add(gdstk.Reference(cont_g, (33.4,36.9)))
pulsegen.add(gdstk.Reference(cont_g, (75.1,36.7), x_reflection=True))
pulsegen.add(gdstk.Reference(cont_g, (115.9,94.9), x_reflection=True))
pulsegen.add(gdstk.Reference(via_1, (55,88), x_reflection=True))
r = gdstk.Reference(via_1, (32.6,88), x_reflection=True); r.repetition = gdstk.Repetition(1, 2, v1=(0,0), v2=(0,-3.4)); pulsegen.add(r)
pulsegen.add(gdstk.Reference(via_1, (44,82.5), x_reflection=True))
pulsegen.add(gdstk.Reference(via_1, (82.5,88), x_reflection=True))
pulsegen.add(gdstk.Reference(pulsegen_nand3, (0,0)))
pulsegen.add(gdstk.Reference(pulsegen_or2, (16.5,110), x_reflection=True))
pulsegen.add(gdstk.Reference(pulsegen_nand4, (33,0)))
pulsegen.add(gdstk.Reference(pulsegen_nand3, (55,0)))
pulsegen.add(gdstk.Reference(pulsegen_nor2_1, (77,0)))
pulsegen.add(gdstk.Reference(pulsegen_nand4, (88,0)))
pulsegen.add(gdstk.Reference(cont_g, (35.5,11.2)))
pulsegen.add(gdstk.Reference(dffr, (33,110), x_reflection=True))
pulsegen.add(gdstk.Label('D3R', (90.7,-6), layer=8, texttype=1))
pulsegen.add(gdstk.Label('D4R', (96.2,-6), layer=8, texttype=1))
pulsegen.add(gdstk.Label('D5R', (101.7,-6), layer=8, texttype=1))
pulsegen.add(gdstk.Label('D6R', (107.2,-6), layer=8, texttype=1))
pulsegen.add(gdstk.Label('D0F', (2.7,-6), layer=8, texttype=1))
pulsegen.add(gdstk.Label('D1F', (8.2,-6), layer=8, texttype=1))
pulsegen.add(gdstk.Label('D2F', (13.7,-6), layer=8, texttype=1))
pulsegen.add(gdstk.Label('D3F', (35.7,-6), layer=8, texttype=1))
pulsegen.add(gdstk.Label('D4F', (41.2,-6), layer=8, texttype=1))
pulsegen.add(gdstk.Label('D5F', (46.7,-6), layer=8, texttype=1))
pulsegen.add(gdstk.Label('D6F', (52.2,-6), layer=8, texttype=1))
pulsegen.add(gdstk.Label('D0R', (57.7,-6), layer=8, texttype=1))
pulsegen.add(gdstk.Label('D1R', (63.2,-6), layer=8, texttype=1))
pulsegen.add(gdstk.Label('D2R', (68.7,-6), layer=8, texttype=1))
pulsegen.add(gdstk.Label('D3R', (92.3,32.7), layer=48, texttype=0))
pulsegen.add(gdstk.Label('D4R', (96.3,27), layer=48, texttype=0))
pulsegen.add(gdstk.Label('D5R', (100.3,21.3), layer=48, texttype=0))
pulsegen.add(gdstk.Label('D6R', (103.1,15.6), layer=48, texttype=0))
pulsegen.add(gdstk.Label('D0F', (4.1,28.7), layer=48, texttype=0))
pulsegen.add(gdstk.Label('D1F', (8.3,24.1), layer=48, texttype=0))
pulsegen.add(gdstk.Label('D2F', (10.9,19.5), layer=48, texttype=0))
pulsegen.add(gdstk.Label('D3F', (37.3,32.7), layer=48, texttype=0))
pulsegen.add(gdstk.Label('D4F', (41.3,27), layer=48, texttype=0))
pulsegen.add(gdstk.Label('D5F', (45.3,21.3), layer=48, texttype=0))
pulsegen.add(gdstk.Label('D6F', (48.1,15.6), layer=48, texttype=0))
pulsegen.add(gdstk.Label('D0R', (59.1,28.7), layer=48, texttype=0))
pulsegen.add(gdstk.Label('D1R', (63.3,24.1), layer=48, texttype=0))
pulsegen.add(gdstk.Label('D2R', (65.9,19.4), layer=48, texttype=0))
pulsegen.add(gdstk.Label('VSS', (-1,0), layer=48, texttype=0))
pulsegen.add(gdstk.Label('VDD', (-0.9,55), layer=48, texttype=0))
pulsegen.add(gdstk.Label('OUT', (115.5,82.8), layer=48, texttype=0))
pulsegen.add(gdstk.Label('RES', (0.3,94), layer=49, texttype=0))
pulsegen.add(gdstk.Label('CLK', (0.3,76.8), layer=49, texttype=0))

lib.write_gds('pulsegen.gds')
